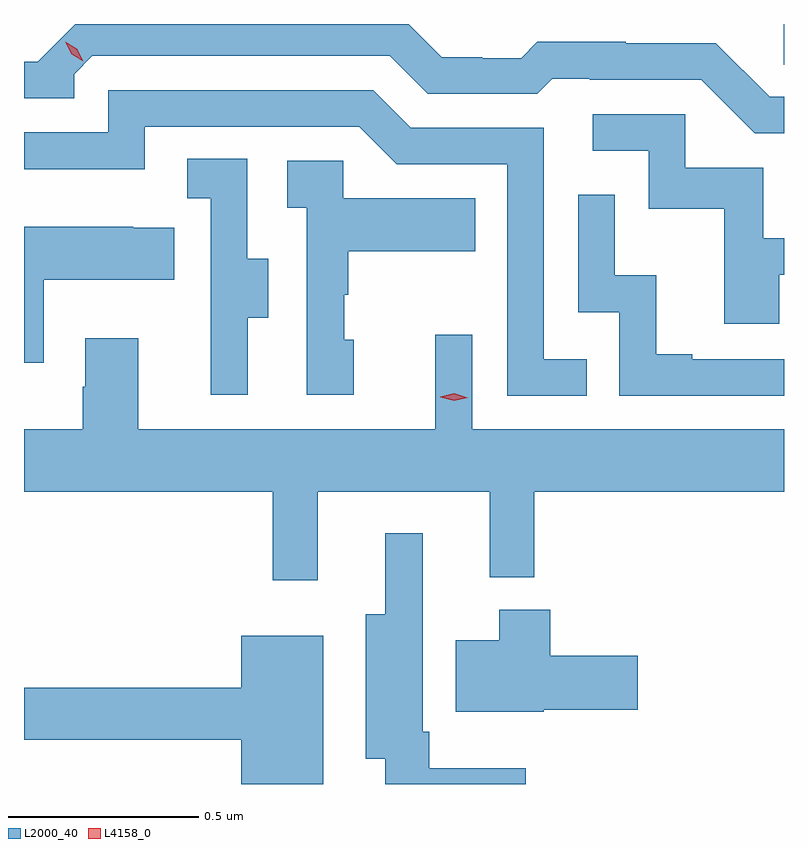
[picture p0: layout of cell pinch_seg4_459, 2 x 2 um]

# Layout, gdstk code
import gdstk
lib = gdstk.Library(unit=1e-6, precision=1e-09)
def R(c, l, rs):  # rectangles x0, y0, x1, y1
    for r in rs: c.add(gdstk.rectangle(r[:2], r[2:], *l))
def P(c, l, *ps):  # polygons
    for p in ps: c.add(gdstk.Polygon(p, *l))
L2000_40 = (2000, 40)
L4158_0 = (4158, 0)

pinch_seg4_459 = lib.new_cell('pinch_seg4_459')
R(pinch_seg4_459, L2000_40, [(929.131,791.284,929.132,791.391)])
P(pinch_seg4_459, L2000_40, [(929.132,791.199),(929.094,791.199),(928.952,791.341),(928.716,791.341),(928.716,791.344),(928.483,791.344),(928.441,791.301),(928.338,791.301),(928.338,791.304),(928.231,791.304),(928.144,791.391),(927.267,791.391),(927.168,791.292),(927.132,791.292),(927.132,791.196),(927.264,791.196),(927.264,791.259),(927.312,791.307),(928.095,791.307),(928.194,791.208),(928.483,791.208),(928.522,791.247),(928.621,791.247),(928.621,791.244),(928.914,791.244),(929.055,791.103),(929.132,791.103)],
  [(928.613,790.509),(928.5,790.509),(928.5,791.118),(928.15,791.118),(928.051,791.217),(927.354,791.217),(927.354,791.106),(927.132,791.106),(927.132,791.009),(927.45,791.009),(927.45,791.121),(928.014,791.121),(928.113,791.022),(928.404,791.022),(928.404,790.413),(928.613,790.413)],
  [(929.119,790.731),(929.132,790.731),(929.132,790.827),(929.077,790.827),(929.077,791.013),(928.872,791.013),(928.872,791.154),(928.629,791.154),(928.629,791.058),(928.776,791.058),(928.776,790.905),(928.975,790.905),(928.975,790.602),(929.119,790.602)],
  [(927.721,790.618),(927.775,790.618),(927.775,790.773),(927.72,790.773),(927.72,791.036),(927.561,791.036),(927.561,790.933),(927.624,790.933),(927.624,790.629),(927.623,790.629),(927.623,790.416),(927.721,790.416)],
  [(928,790.56),(927.975,790.56),(927.975,790.679),(927.985,790.679),(927.985,790.793),(928.319,790.793),(928.319,790.933),(927.972,790.933),(927.972,791.031),(927.825,791.031),(927.825,790.907),(927.876,790.907),(927.876,790.416),(928,790.416)],
  [(929.132,790.509),(928.891,790.509),(928.891,790.522),(928.796,790.522),(928.796,790.73),(928.686,790.73),(928.686,790.942),(928.59,790.942),(928.59,790.632),(928.698,790.632),(928.698,790.413),(929.132,790.413)],
  [(927.184,790.718),(927.527,790.718),(927.527,790.855),(927.419,790.855),(927.419,790.858),(927.132,790.858),(927.132,790.5),(927.184,790.5)],
  [(927.905,790.16),(928.358,790.16),(928.358,789.935),(928.475,789.935),(928.475,790.16),(929.132,790.16),(929.132,790.324),(928.311,790.324),(928.311,790.573),(928.214,790.573),(928.214,790.324),(927.433,790.324),(927.433,790.564),(927.293,790.564),(927.293,790.436),(927.286,790.436),(927.286,790.324),(927.132,790.324),(927.132,790.16),(927.787,790.16),(927.787,789.927),(927.905,789.927)],
  [(928.452,789.433),(928.199,789.433),(928.199,789.529),(928.181,789.529),(928.181,790.051),(928.082,790.051),(928.082,789.838),(928.031,789.838),(928.031,789.458),(928.082,789.458),(928.082,789.391),(928.452,789.391)],
  [(928.5,789.587),(928.747,789.587),(928.747,789.729),(928.517,789.729),(928.517,789.85),(928.382,789.85),(928.382,789.769),(928.268,789.769),(928.268,789.581),(928.5,789.581)],
  [(927.919,789.781),(927.704,789.781),(927.704,789.644),(927.132,789.644),(927.132,789.508),(927.704,789.508),(927.704,789.391),(927.919,789.391)])
P(pinch_seg4_459, L4158_0, [(927.288,791.293),(927.257,791.312),(927.24,791.344),(927.24,791.344),(927.24,791.344),(927.271,791.326),(927.288,791.293),(927.288,791.293)],
  [(928.264,790.399),(928.228,790.409),(928.228,790.41),(928.228,790.41),(928.264,790.419),(928.3,790.408),(928.3,790.408),(928.3,790.408)])

lib.write_gds('pinch_seg4_459.gds')
